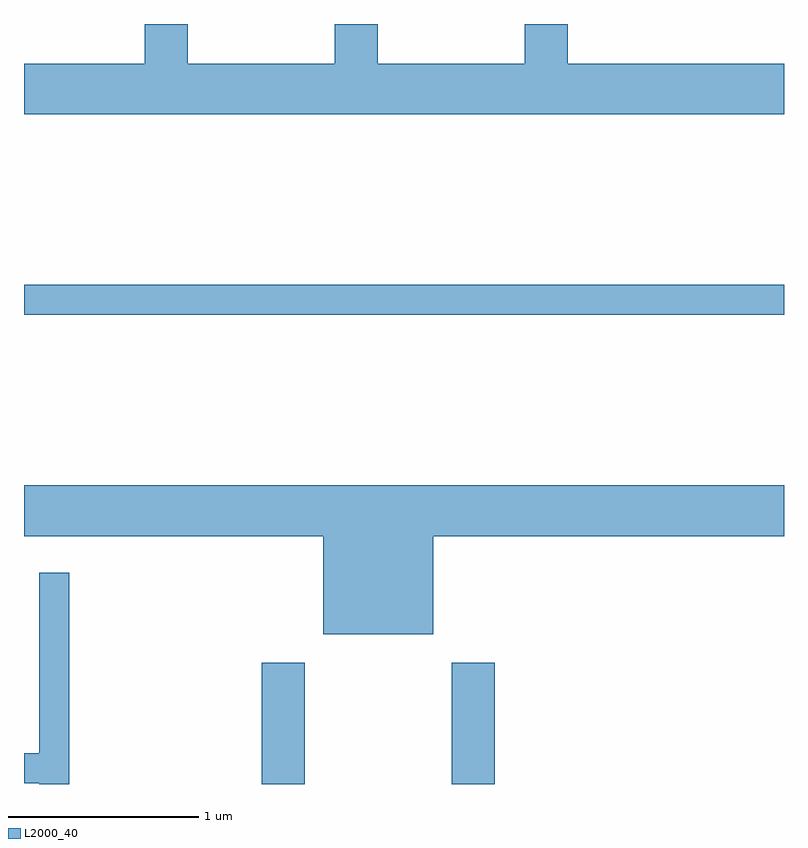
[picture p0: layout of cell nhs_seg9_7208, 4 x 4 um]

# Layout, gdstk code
import gdstk
lib = gdstk.Library(unit=1e-6, precision=1e-09)
def R(c, l, rs):  # rectangles x0, y0, x1, y1
    for r in rs: c.add(gdstk.rectangle(r[:2], r[2:], *l))
def P(c, l, *ps):  # polygons
    for p in ps: c.add(gdstk.Polygon(p, *l))
L2000_40 = (2000, 40)

nhs_seg9_7208 = lib.new_cell('nhs_seg9_7208')
R(nhs_seg9_7208, L2000_40, [(398.861,2070.432,399.089,2071.069), (399.861,2070.432,400.089,2071.069), (397.611,2072.901,401.611,2073.059)])
P(nhs_seg9_7208, L2000_40, [(401.611,2074.224),(400.474,2074.224),(400.474,2074.432),(400.246,2074.432),(400.246,2074.224),(399.474,2074.224),(399.474,2074.432),(399.246,2074.432),(399.246,2074.224),(398.474,2074.224),(398.474,2074.432),(398.246,2074.432),(398.246,2074.224),(397.611,2074.224),(397.611,2073.956),(401.611,2073.956)],
  [(399.764,2071.736),(401.611,2071.736),(401.611,2072.004),(397.611,2072.004),(397.611,2071.736),(399.186,2071.736),(399.186,2071.221),(399.764,2071.221)],
  [(397.849,2071.543),(397.691,2071.543),(397.691,2070.594),(397.611,2070.594),(397.611,2070.436),(397.691,2070.436),(397.691,2070.432),(397.849,2070.432)])

lib.write_gds('nhs_seg9_7208.gds')
